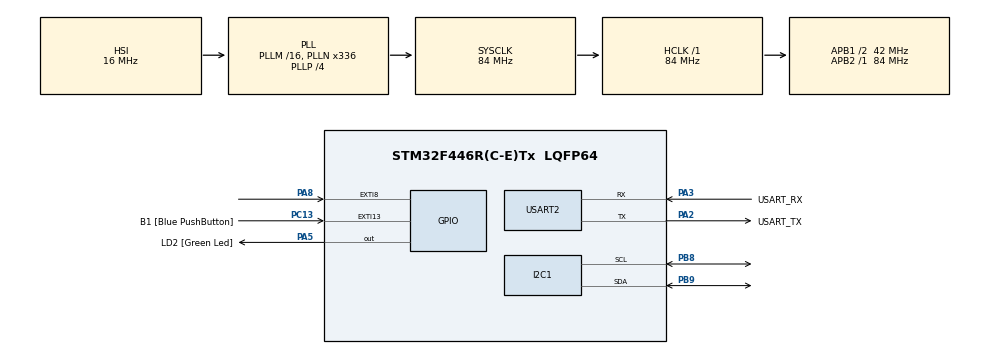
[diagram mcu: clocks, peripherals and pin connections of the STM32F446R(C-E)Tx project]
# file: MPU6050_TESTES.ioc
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Dma.I2C1_RX.0.Direction=DMA_PERIPH_TO_MEMORY
Dma.I2C1_RX.0.FIFOMode=DMA_FIFOMODE_DISABLE
Dma.I2C1_RX.0.Instance=DMA1_Stream0
Dma.I2C1_RX.0.MemDataAlignment=DMA_MDATAALIGN_BYTE
Dma.I2C1_RX.0.MemInc=DMA_MINC_ENABLE
Dma.I2C1_RX.0.Mode=DMA_NORMAL
Dma.I2C1_RX.0.PeriphDataAlignment=DMA_PDATAALIGN_BYTE
Dma.I2C1_RX.0.PeriphInc=DMA_PINC_DISABLE
Dma.I2C1_RX.0.Priority=DMA_PRIORITY_LOW
Dma.Request0=I2C1_RX
I2C1.I2C_Mode=I2C_Fast
Mcu.Family=STM32F4
Mcu.Name=STM32F446R(C-E)Tx
Mcu.Package=LQFP64
NVIC.DMA1_Stream0_IRQn=true\:0\:0\:false\:false\:true\:false\:true\:true
NVIC.EXTI9_5_IRQn=true\:0\:0\:false\:false\:true\:true\:true\:true
NVIC.PriorityGroup=NVIC_PRIORITYGROUP_0
PA13.GPIO_Label=TMS
PA13.Mode=Serial_Wire
PA13.Signal=SYS_JTMS-SWDIO
PA14.GPIO_Label=TCK
PA14.Mode=Serial_Wire
PA14.Signal=SYS_JTCK-SWCLK
PA2.GPIO_Label=USART_TX
PA2.Mode=Asynchronous
PA2.Signal=USART2_TX
PA3.GPIO_Label=USART_RX
PA3.Mode=Asynchronous
PA3.Signal=USART2_RX
PA5.GPIO_Label=LD2 [Green Led]
PA5.Signal=GPIO_Output
PA8.Signal=GPXTI8
PB3.GPIO_Label=SWO
PB3.Signal=SYS_JTDO-SWO
PB8.GPIO_Pu=GPIO_PULLUP
PB8.Mode=I2C
PB8.Signal=I2C1_SCL
PB9.GPIO_Pu=GPIO_PULLUP
PB9.Mode=I2C
PB9.Signal=I2C1_SDA
PC13.GPIO_Label=B1 [Blue PushButton]
PC13.GPIO_ModeDefaultEXTI=GPIO_MODE_IT_FALLING
PC13.Signal=GPXTI13
PC14-OSC32_IN.Mode=LSE-External-Oscillator
PC14-OSC32_IN.Signal=RCC_OSC32_IN
PC15-OSC32_OUT.Mode=LSE-External-Oscillator
PC15-OSC32_OUT.Signal=RCC_OSC32_OUT
PH0-OSC_IN.Mode=HSE-External-Oscillator
PH0-OSC_IN.Signal=RCC_OSC_IN
PH1-OSC_OUT.Mode=HSE-External-Oscillator
PH1-OSC_OUT.Signal=RCC_OSC_OUT
ProjectManager.HeapSize=0x200
ProjectManager.StackSize=0x400
ProjectManager.TargetToolchain=MDK-ARM V5.32
RCC.48MHZClocksFreq_Value=84000000
RCC.AHBFreq_Value=84000000
RCC.APB1CLKDivider=RCC_HCLK_DIV2
RCC.APB1Freq_Value=42000000
RCC.APB1TimFreq_Value=84000000
RCC.APB2Freq_Value=84000000
RCC.APB2TimFreq_Value=84000000
RCC.CortexFreq_Value=84000000
RCC.FLatency-AdvancedSettings=FLASH_LATENCY_2
RCC.HCLKFreq_Value=84000000
RCC.HSE_VALUE=8000000
RCC.HSI_VALUE=16000000
RCC.PLLN=336
RCC.PLLP=RCC_PLLP_DIV4
RCC.SYSCLKFreq_VALUE=84000000
RCC.SYSCLKSource=RCC_SYSCLKSOURCE_PLLCLK
RCC.USBFreq_Value=168000000
RCC.VCOOutputFreq_Value=336000000
TIM2.Prescaler=84-1
USART2.VirtualMode=VM_ASYNC
VP_TIM2_VS_ClockSourceINT.Mode=Internal
board=NUCLEO-F446RE

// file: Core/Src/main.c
/* USER CODE BEGIN Header */
/**
  ******************************************************************************
  * @file           : main.c
  * @brief          : Main program body
  ******************************************************************************
  * @attention
  *
  * Copyright (c) 2022 STMicroelectronics.
  * All rights reserved.
  *
  * This software is licensed under terms that can be found in the LICENSE file
  * in the root directory of this software component.
  * If no LICENSE file comes with this software, it is provided AS-IS.
  *
  ******************************************************************************
  */
/* USER CODE END Header */
#include "main.h"
#include "dma.h"
#include "i2c.h"
#include "tim.h"
#include "usart.h"
#include "gpio.h"

/* USER CODE BEGIN Includes */
#include "string.h"
#include "stdlib.h"
#include "stdio.h"
#include "MPU6050.h"

/* USER CODE END Includes */

/* USER CODE BEGIN PV */

char StrTx[128];

MPU6050_t MPU6050;

MPU6050_Interrupt_t MPU6050_Interrupts;

uint8_t MPU6050_ReadyInfo;

uint16_t TimeCycle, TimeCycle_1;

/* USER CODE END PV */

void SystemClock_Config(void);

int main(void)
{

  /* MCU Configuration--------------------------------------------------------*/

  /* Reset of all peripherals, Initializes the Flash interface and the Systick. */
  HAL_Init();

  /* Configure the system clock */
  SystemClock_Config();

  /* Initialize all configured peripherals */
  MX_GPIO_Init();
  MX_DMA_Init();
  MX_I2C1_Init();
  MX_USART2_UART_Init();
  MX_TIM2_Init();
  /* USER CODE BEGIN 2 */

	if (MPU6050_Init(&MPU6050, MPU6050_Device_0) == MPU6050_Result_Ok)
	{
		sprintf(StrTx, "MPU6050: Exito na inicializacao\n\r");
		HAL_UART_Transmit(&huart2, (uint8_t*)StrTx, strlen(StrTx), 100);
	}
	else
	{
		sprintf(StrTx, "MPU6050: Falha na inicializacao\n\r");
		HAL_UART_Transmit(&huart2, (uint8_t*)StrTx, strlen(StrTx), 100);
	}

		/* Set sample rate to 100Hz */
	if (MPU6050_SetDataRate(&MPU6050, MPU6050_DataRate_100Hz) == MPU6050_Result_Ok)
	{
		sprintf(StrTx, "MPU6050: Exito na configuracao do rate\n\r");
		HAL_UART_Transmit(&huart2, (uint8_t*)StrTx, strlen(StrTx), 100);
	}
	else
	{
		sprintf(StrTx, "MPU6050: Falha na configuracao do rate\n\r");
		HAL_UART_Transmit(&huart2, (uint8_t*)StrTx, strlen(StrTx), 100);
	}

	/* Config accelerometer */
	if (MPU6050_SetAccelerometer(&MPU6050, MPU6050_Accelerometer_8G) == MPU6050_Result_Ok)
	{
		sprintf(StrTx, "MPU6050: Exito na configuracao do acelerometro\n\r");
		HAL_UART_Transmit(&huart2, (uint8_t*)StrTx, strlen(StrTx), 100);
	}
	else
	{
		sprintf(StrTx, "MPU6050: Falha na configuracao do acelerometro\n\r");
		HAL_UART_Transmit(&huart2, (uint8_t*)StrTx, strlen(StrTx), 100);
	}

	/* Config accelerometer */
	if (MPU6050_SetGyroscope(&MPU6050, MPU6050_Gyroscope_250s) == MPU6050_Result_Ok)
	{
		sprintf(StrTx, "MPU6050: Exito na configuracao do giroscopio\n\r");
		HAL_UART_Transmit(&huart2, (uint8_t*)StrTx, strlen(StrTx), 100);
	}
	else
	{
		sprintf(StrTx, "MPU6050: Falha na configuracao do giroscopio\n\r");
		HAL_UART_Transmit(&huart2, (uint8_t*)StrTx, strlen(StrTx), 100);
	}

  if (MPU6050_EnableInterrupts(&MPU6050) == MPU6050_Result_Ok)
	{
		sprintf(StrTx, "MPU6050: Exito na configuracao das interrupcoes\n\r");
		HAL_UART_Transmit(&huart2, (uint8_t*)StrTx, strlen(StrTx), 100);
	}
	else
	{
		sprintf(StrTx, "MPU6050: Falha na configuracao das interrupcoes\n\r");
		HAL_UART_Transmit(&huart2, (uint8_t*)StrTx, strlen(StrTx), 100);
	}

	HAL_TIM_Base_Start(&htim2);
  /* USER CODE END 2 */

  /* Infinite loop */
  /* USER CODE BEGIN WHILE */
  while (1)
  {
		if(MPU6050_ReadyInfo == 1)
		{
			MPU6050_ReadyInfo = 0;
			HAL_GPIO_TogglePin(LD2_GPIO_Port, LD2_Pin);

			__HAL_TIM_SET_COUNTER(&htim2, 0);
			MPU6050_ReadInterrupts(&MPU6050, &MPU6050_Interrupts);
			if (MPU6050_Interrupts.F.DataReady)
			{
				MPU6050_ReadAll(&MPU6050);
			}
			TimeCycle = __HAL_TIM_GET_COUNTER(&htim2);
		}

    /* USER CODE END WHILE */

  }
}

void SystemClock_Config(void)
{
  RCC_OscInitTypeDef RCC_OscInitStruct = {0};
  RCC_ClkInitTypeDef RCC_ClkInitStruct = {0};

  /** Configure the main internal regulator output voltage
  */
  __HAL_RCC_PWR_CLK_ENABLE();
  __HAL_PWR_VOLTAGESCALING_CONFIG(PWR_REGULATOR_VOLTAGE_SCALE3);

  /** Initializes the RCC Oscillators according to the specified parameters
  * in the RCC_OscInitTypeDef structure.
  */
  RCC_OscInitStruct.OscillatorType = RCC_OSCILLATORTYPE_HSI;
  RCC_OscInitStruct.HSIState = RCC_HSI_ON;
  RCC_OscInitStruct.HSICalibrationValue = RCC_HSICALIBRATION_DEFAULT;
  RCC_OscInitStruct.PLL.PLLState = RCC_PLL_ON;
  RCC_OscInitStruct.PLL.PLLSource = RCC_PLLSOURCE_HSI;
  RCC_OscInitStruct.PLL.PLLM = 16;
  RCC_OscInitStruct.PLL.PLLN = 336;
  RCC_OscInitStruct.PLL.PLLP = RCC_PLLP_DIV4;
  RCC_OscInitStruct.PLL.PLLQ = 2;
  RCC_OscInitStruct.PLL.PLLR = 2;
  if (HAL_RCC_OscConfig(&RCC_OscInitStruct) != HAL_OK)
  {
    Error_Handler();
  }

  /** Initializes the CPU, AHB and APB buses clocks
  */
  RCC_ClkInitStruct.ClockType = RCC_CLOCKTYPE_HCLK|RCC_CLOCKTYPE_SYSCLK
                              |RCC_CLOCKTYPE_PCLK1|RCC_CLOCKTYPE_PCLK2;
  RCC_ClkInitStruct.SYSCLKSource = RCC_SYSCLKSOURCE_PLLCLK;
  RCC_ClkInitStruct.AHBCLKDivider = RCC_SYSCLK_DIV1;
  RCC_ClkInitStruct.APB1CLKDivider = RCC_HCLK_DIV2;
  RCC_ClkInitStruct.APB2CLKDivider = RCC_HCLK_DIV1;

  if (HAL_RCC_ClockConfig(&RCC_ClkInitStruct, FLASH_LATENCY_2) != HAL_OK)
  {
    Error_Handler();
  }
}

void Error_Handler(void)
{
  __disable_irq();
  while (1)
  {
  }
}
